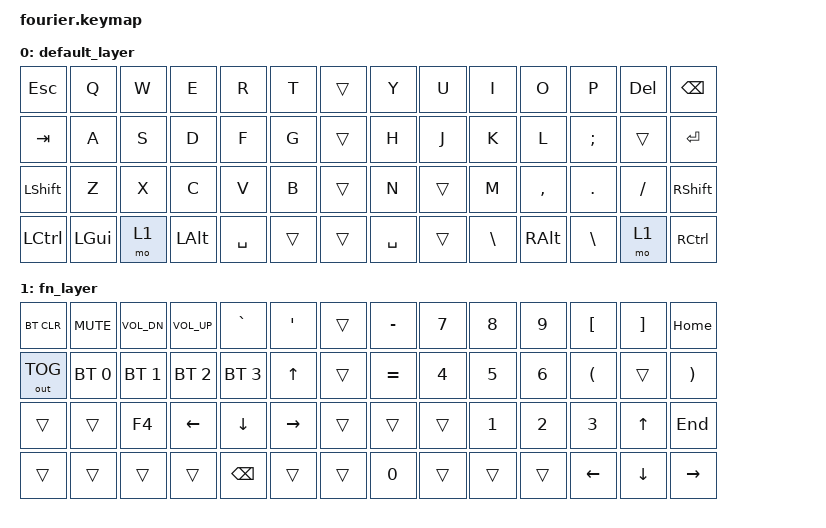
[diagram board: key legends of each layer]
#include <behaviors.dtsi>
#include <dt-bindings/zmk/bt.h>
#include <dt-bindings/zmk/keys.h>
#include <dt-bindings/zmk/outputs.h>

/ {
    keymap {
        compatible = "zmk,keymap";

// ----------------------------------------          --------------------------------------------
// | ESC  |  Q   |  W  |  E   |  R  |  T  |          |  Y  |  U  |  I  |  O  |  P  | DEL | BSPC |
// | TAB   |  A   |  S  |  D   |  F  |  G  |           |  H  |  J  |  K  |  L  |  ;  |   ENTER  |
// | SHIFT   |  Z   |  X  |  C  |  V   |  B  |          |  N  |  M  |  ,  |  .  |  /  |  RSHFT  |
// | LCTRL | LGUI | FN  |  ALT  |  SPACE   |           |   SPACE   | RALT |  \  |  FN  |  CTRL  |
// -----------------------------------------           ------------------------------------------

        default_layer {
            bindings = <
&kp ESC   &kp Q    &kp W    &kp E     &kp R     &kp T  	    &trans    /**/ &kp Y     &kp U     &kp I     &kp O     &kp P     &kp DEL   &kp BACKSPACE  
&kp TAB   &kp A    &kp S    &kp D     &kp F     &kp G       &trans    /**/ &kp H     &kp J     &kp K     &kp L     &kp SEMI  &trans    &kp ENTER
&kp LSHFT &kp Z    &kp X    &kp C     &kp V     &kp B       &trans    /**/ &kp N     &trans    &kp M     &kp COMMA &kp DOT   &kp FSLH  &kp RSHFT 
&kp LCTRL &kp LGUI &mo 1    &kp LALT  &kp SPACE &trans      &trans    /**/ &kp SPACE &trans    &kp BSLH  &kp RALT  &kp BSLH  &mo 1     &kp RCTRL  
            >;
        };

// ------------------------------------------              -------------------------------------------
// |BT_CLR| MUTE | V_DN | V_UP |  `  |   '  |              |  -  |  7  |  8  |  9  |  [  |  ]  | HOME|
// |O_TOG| BT-0 | BT-1| BT-2 | BT-3|     |  UP |            |  =+ |  4  |  5  |  6  |  (  |     )    |
// |          |     |     |  DN |  LFT |  RT |                 |     |  1  |  2  |  3  |  UP |   END |
// |        |       |      | ENTR |   BSPC   |              |      0     |       | LEFT|  DN | RIGHT |
// -------------------------------------------              ------------------------------------------

        fn_layer {
            bindings = <
&bt BT_CLR   &kp C_MUTE   &kp C_VOL_DN &kp C_VOL_UP &kp GRAVE    &kp SQT     &trans /**/ &kp MINUS &kp N7 &kp N8  &kp N9 &kp LBKT &kp RBKT  &kp HOME
&out OUT_TOG &bt BT_SEL 0 &bt BT_SEL 1 &bt BT_SEL 2 &bt BT_SEL 3 &kp UP      &trans /**/ &kp EQUAL &kp N4 &kp N5  &kp N6 &kp LPAR &trans    &kp RPAR
&trans       &trans       &kp F4       &kp LEFT     &kp DOWN     &kp RIGHT   &trans /**/ &trans    &trans &kp N1  &kp N2 &kp N3   &kp UP    &kp END
&trans       &trans       &trans       &trans       &kp BSPC     &trans      &trans /**/ &kp N0    &trans &trans  &trans &kp LEFT &kp DOWN  &kp RIGHT
            >;
        };
    };
};
